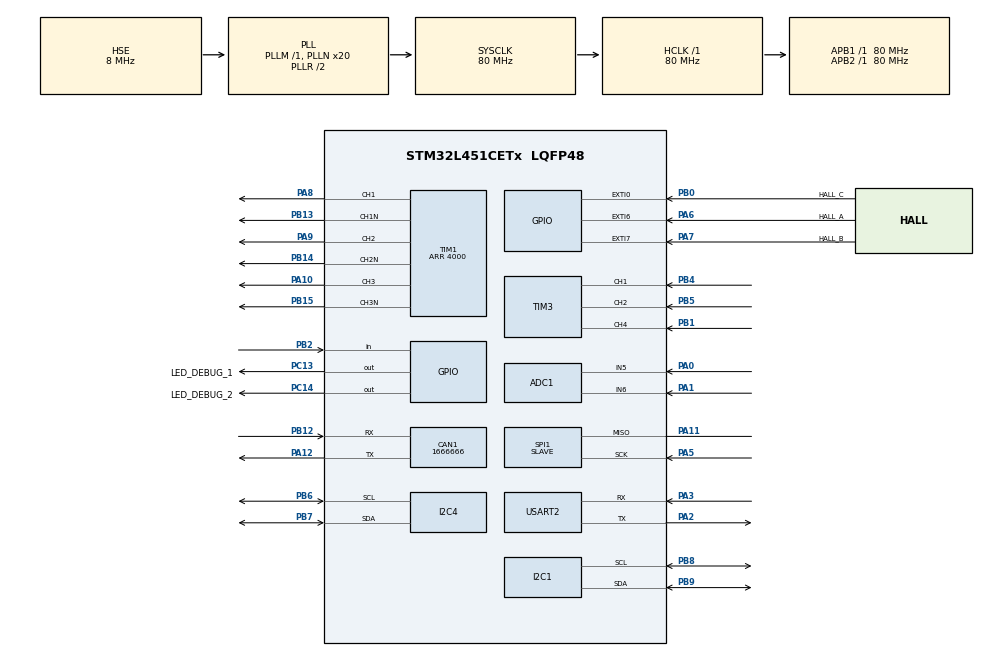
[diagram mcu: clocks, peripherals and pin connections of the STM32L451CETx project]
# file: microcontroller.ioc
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ADC1.Channel-0\#ChannelRegularConversion=ADC_CHANNEL_5
ADC1.NbrOfConversionFlag=1
ADC1.OffsetNumber-0\#ChannelRegularConversion=ADC_OFFSET_NONE
ADC1.Rank-0\#ChannelRegularConversion=1
ADC1.SamplingTime-0\#ChannelRegularConversion=ADC_SAMPLETIME_2CYCLES_5
ADC1.SingleDiff-0\#ChannelRegularConversion=ADC_DIFFERENTIAL_ENDED
ADC1.master=1
CAN1.CalculateBaudRate=1666666
CAN1.CalculateTimeBit=600
CAN1.CalculateTimeQuantum=200.0
CAN1.NART=ENABLE
CAN1.TXFP=ENABLE
FREERTOS.Queues01=EncoderQueue,10,float,0,Dynamic,NULL,NULL;CommandQueue,16,uint16_t,0,Dynamic,NULL,NULL
FREERTOS.Tasks01=defaultTask,24,128,StartDefaultTask,Default,NULL,Dynamic,NULL,NULL;EncoderTask,40,512,StartEncoderTask,Default,NULL,Dynamic,NULL,NULL;HallTask,40,256,StartHallTask,Default,NULL,Dynamic,NULL,NULL;ControlTask,48,1024,StartControlTask,Default,NULL,Dynamic,NULL,NULL;CanTask,24,512,StartCanTask,Default,NULL,Dynamic,NULL,NULL;TelemetryTask,8,512,StartTelemetryTask,Default,NULL,Dynamic,NULL,NULL;DiagnosticsTask,8,512,StartDiagnosticsTask,Default,NULL,Dynamic,NULL,NULL
FREERTOS.Timers01=LedTimer,LedTimerCallback,osTimerPeriodic,Default,NULL,Dynamic,NULL
FREERTOS.configTOTAL_HEAP_SIZE=16384
I2C1.Timing=0x10D19CE4
I2C4.Timing=0x10D19CE4
Mcu.Family=STM32L4
Mcu.Name=STM32L451CETx
Mcu.Package=LQFP48
NVIC.PriorityGroup=NVIC_PRIORITYGROUP_4
PA0.Signal=ADCx_IN5
PA1.Signal=ADCx_IN6
PA10.Signal=S_TIM1_CH3
PA11.Mode=Simplex_Bidirectional_Slave
PA11.Signal=SPI1_MISO
PA12.Mode=CAN_Activate
PA12.Signal=CAN1_TX
PA13\ (JTMS/SWDIO).Mode=Serial_Wire
PA13\ (JTMS/SWDIO).Signal=SYS_JTMS-SWDIO
PA14\ (JTCK/SWCLK).Mode=Serial_Wire
PA14\ (JTCK/SWCLK).Signal=SYS_JTCK-SWCLK
PA2.Mode=Asynchronous
PA2.Signal=USART2_TX
PA3.Mode=Asynchronous
PA3.Signal=USART2_RX
PA5.Mode=Simplex_Bidirectional_Slave
PA5.Signal=SPI1_SCK
PA6.GPIO_Label=HALL_A
PA6.Signal=GPXTI6
PA7.GPIO_Label=HALL_B
PA7.Signal=GPXTI7
PA8.Signal=S_TIM1_CH1
PA9.Signal=S_TIM1_CH2
PB0.GPIO_Label=HALL_C
PB0.Signal=GPXTI0
PB1.Signal=S_TIM3_CH4
PB12.Mode=CAN_Activate
PB12.Signal=CAN1_RX
PB13.Mode=PWM Generation1 CH1 CH1N
PB13.Signal=TIM1_CH1N
PB14.Mode=PWM Generation2 CH2 CH2N
PB14.Signal=TIM1_CH2N
PB15.Mode=PWM Generation3 CH3 CH3N
PB15.Signal=TIM1_CH3N
PB2.GPIO_PuPd=GPIO_PULLDOWN
PB2.Signal=GPIO_Input
PB4\ (NJTRST).Signal=S_TIM3_CH1
PB5.Signal=S_TIM3_CH2
PB6.Mode=I2C
PB6.Signal=I2C4_SCL
PB7.Mode=I2C
PB7.Signal=I2C4_SDA
PB8.Mode=I2C
PB8.Signal=I2C1_SCL
PB9.Mode=I2C
PB9.Signal=I2C1_SDA
PC13.GPIO_Label=LED_DEBUG_1
PC13.Signal=GPIO_Output
PC14-OSC32_IN\ (PC14).GPIO_Label=LED_DEBUG_2
PC14-OSC32_IN\ (PC14).Signal=GPIO_Output
PH0-OSC_IN\ (PH0).Mode=HSE-External-Oscillator
PH0-OSC_IN\ (PH0).Signal=RCC_OSC_IN
PH1-OSC_OUT\ (PH1).Mode=HSE-External-Oscillator
PH1-OSC_OUT\ (PH1).Signal=RCC_OSC_OUT
ProjectManager.HeapSize=0x200
ProjectManager.StackSize=0x400
ProjectManager.TargetToolchain=STM32CubeIDE
RCC.ADCFreq_Value=16000000
RCC.AHBFreq_Value=80000000
RCC.APB1Freq_Value=80000000
RCC.APB1TimFreq_Value=80000000
RCC.APB2Freq_Value=80000000
RCC.APB2TimFreq_Value=80000000
RCC.CortexFreq_Value=80000000
RCC.HCLKFreq_Value=80000000
RCC.HSE_VALUE=8000000
RCC.HSI48_VALUE=48000000
RCC.HSI_VALUE=16000000
RCC.LSE_VALUE=32768
RCC.MSI_VALUE=4000000
RCC.PLLN=40
RCC.SYSCLKFreq_VALUE=80000000
RCC.SYSCLKSource=RCC_SYSCLKSOURCE_PLLCLK
RCC.VCOOutputFreq_Value=160000000
SH.ADCx_IN5.0=ADC1_IN5,IN5-Differential
SH.ADCx_IN6.0=ADC1_IN6,IN5-Differential
SH.S_TIM1_CH1.0=TIM1_CH1,PWM Generation1 CH1 CH1N
SH.S_TIM1_CH2.0=TIM1_CH2,PWM Generation2 CH2 CH2N
SH.S_TIM1_CH3.0=TIM1_CH3,PWM Generation3 CH3 CH3N
SH.S_TIM3_CH1.0=TIM3_CH1,Input_Capture1_from_TI1
SH.S_TIM3_CH2.0=TIM3_CH2,Input_Capture2_from_TI2
SH.S_TIM3_CH4.0=TIM3_CH4,Input_Capture4_from_TI4
SPI1.DataSize=SPI_DATASIZE_16BIT
SPI1.Direction=SPI_DIRECTION_1LINE
SPI1.Mode=SPI_MODE_SLAVE
SPI1.VirtualType=VM_SLAVE
TIM1.BreakState=TIM_BREAK_DISABLE
TIM1.Channel-PWM\ Generation1\ CH1\ CH1N=TIM_CHANNEL_1
TIM1.Channel-PWM\ Generation2\ CH2\ CH2N=TIM_CHANNEL_2
TIM1.Channel-PWM\ Generation3\ CH3\ CH3N=TIM_CHANNEL_3
TIM1.DeadTime=100
TIM1.Period=4000
TIM3.Channel-Input_Capture1_from_TI1=TIM_CHANNEL_1
TIM3.Channel-Input_Capture2_from_TI2=TIM_CHANNEL_2
TIM3.Channel-Input_Capture4_from_TI4=TIM_CHANNEL_4
USART2.VirtualMode-Asynchronous=VM_ASYNC
VP_FREERTOS_VS_CMSIS_V2.Mode=CMSIS_V2
board=custom

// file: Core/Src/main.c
/* USER CODE BEGIN Header */
/**
  ******************************************************************************
  * @file           : main.c
  * @brief          : Main program body
  ******************************************************************************
  */
/* USER CODE END Header */

#include "main.h"
#include "cmsis_os.h"

/* USER CODE BEGIN Includes */
#include "app.h"           // Пользовательская инициализация
#include "bsp/encoder.h"   // Драйвер энкодера (будет создан)
#include "bsp/drv8353.h"   // Драйвер DRV8353
#include "bsp/power_monitor.h"
#include "communication/can_protocol.h"
#include "communication/telemetry.h"
/* USER CODE END Includes */

/* USER CODE BEGIN PTD */
typedef struct {
    float position;
    float velocity;
    uint8_t enable;
} Command_t;
/* USER CODE END PTD */

ADC_HandleTypeDef hadc1;
CAN_HandleTypeDef hcan1;
I2C_HandleTypeDef hi2c1;
I2C_HandleTypeDef hi2c4;
SPI_HandleTypeDef hspi1;
TIM_HandleTypeDef htim1;
TIM_HandleTypeDef htim3;
UART_HandleTypeDef huart2;

/* FreeRTOS objects */
osThreadId_t defaultTaskHandle;
const osThreadAttr_t defaultTask_attributes = {
    .name = "defaultTask",
    .stack_size = 128 * 4,
    .priority = (osPriority_t) osPriorityNormal,
};

osThreadId_t EncoderTaskHandle;
const osThreadAttr_t EncoderTask_attributes = {
    .name = "EncoderTask",
    .stack_size = 512 * 4,
    .priority = (osPriority_t) osPriorityHigh,
};

osThreadId_t HallTaskHandle;
const osThreadAttr_t HallTask_attributes = {
    .name = "HallTask",
    .stack_size = 256 * 4,
    .priority = (osPriority_t) osPriorityHigh,
};

osThreadId_t ControlTaskHandle;
const osThreadAttr_t ControlTask_attributes = {
    .name = "ControlTask",
    .stack_size = 1024 * 4,
    .priority = (osPriority_t) osPriorityRealtime,
};

osThreadId_t CanTaskHandle;
const osThreadAttr_t CanTask_attributes = {
    .name = "CanTask",
    .stack_size = 512 * 4,
    .priority = (osPriority_t) osPriorityNormal,
};

osThreadId_t TelemetryTaskHandle;
const osThreadAttr_t TelemetryTask_attributes = {
    .name = "TelemetryTask",
    .stack_size = 512 * 4,
    .priority = (osPriority_t) osPriorityLow,
};

osThreadId_t DiagnosticsTaskHandle;
const osThreadAttr_t DiagnosticsTask_attributes = {
    .name = "DiagnosticsTask",
    .stack_size = 512 * 4,
    .priority = (osPriority_t) osPriorityLow,
};

// Очередь команд: 10 элементов по 12 байт (sizeof(Command_t))
osMessageQueueId_t CommandQueueHandle;
const osMessageQueueAttr_t CommandQueue_attributes = {
    .name = "CommandQueue"
};

osTimerId_t LedTimerHandle;
const osTimerAttr_t LedTimer_attributes = {
    .name = "LedTimer"
};

void SystemClock_Config(void);
static void MX_GPIO_Init(void);
static void MX_ADC1_Init(void);
static void MX_CAN1_Init(void);
static void MX_I2C1_Init(void);
static void MX_I2C4_Init(void);
static void MX_TIM1_Init(void);
static void MX_USART2_UART_Init(void);
static void MX_SPI1_Init(void);
static void MX_TIM3_Init(void);
void StartDefaultTask(void *argument);
void StartEncoderTask(void *argument);
void StartHallTask(void *argument);
void StartControlTask(void *argument);
void StartCanTask(void *argument);
void StartTelemetryTask(void *argument);
void StartDiagnosticsTask(void *argument);
void LedTimerCallback(void *argument);

/* ===================== MAIN ===================== */
int main(void)
{

    HAL_Init();

    SystemClock_Config();   // <-- БУДЕТ ИСПРАВЛЕНА НИЖЕ

    MX_GPIO_Init();
    MX_ADC1_Init();      // <-- ИСПРАВЛЕНА
    MX_CAN1_Init();      // <-- ИСПРАВЛЕНА
    MX_I2C1_Init();
    MX_I2C4_Init();
    MX_TIM1_Init();      // <-- ИСПРАВЛЕНА (dead-time 250 нс)
    MX_USART2_UART_Init();
    MX_SPI1_Init();      // <-- ИСПРАВЛЕНА (Master, полный дуплекс)
    MX_TIM3_Init();      // <-- ИСПРАВЛЕНА (каналы 1,2,3)

    /* USER CODE BEGIN 2 */
    // Запуск ШИМ на всех 6 каналах TIM1
    HAL_TIM_PWM_Start(&htim1, TIM_CHANNEL_1);
    HAL_TIM_PWM_Start(&htim1, TIM_CHANNEL_2);
    HAL_TIM_PWM_Start(&htim1, TIM_CHANNEL_3);
    HAL_TIM_PWM_Start(&htim1, TIM_CHANNEL_1N);
    HAL_TIM_PWM_Start(&htim1, TIM_CHANNEL_2N);
    HAL_TIM_PWM_Start(&htim1, TIM_CHANNEL_3N);

    // Запуск таймера захвата для датчиков Холла (с прерываниями)
    HAL_TIM_IC_Start_IT(&htim3, TIM_CHANNEL_1);
    HAL_TIM_IC_Start_IT(&htim3, TIM_CHANNEL_2);
    HAL_TIM_IC_Start_IT(&htim3, TIM_CHANNEL_3);

    // Инициализация пользовательских модулей
    App_Init();
    /* USER CODE END 2 */

    osKernelInitialize();

    /* Создание таймера */
    LedTimerHandle = osTimerNew(LedTimerCallback, osTimerPeriodic, NULL, &LedTimer_attributes);
    osTimerStart(LedTimerHandle, pdMS_TO_TICKS(500));  // 500 мс

    /* Создание очереди (исправлено: размер элемента 12 байт) */
    CommandQueueHandle = osMessageQueueNew(10, sizeof(Command_t), &CommandQueue_attributes);

    /* Создание задач */
    defaultTaskHandle = osThreadNew(StartDefaultTask, NULL, &defaultTask_attributes);
    EncoderTaskHandle = osThreadNew(StartEncoderTask, NULL, &EncoderTask_attributes);
    HallTaskHandle = osThreadNew(StartHallTask, NULL, &HallTask_attributes);
    ControlTaskHandle = osThreadNew(StartControlTask, NULL, &ControlTask_attributes);
    CanTaskHandle = osThreadNew(StartCanTask, NULL, &CanTask_attributes);
    TelemetryTaskHandle = osThreadNew(StartTelemetryTask, NULL, &TelemetryTask_attributes);
    DiagnosticsTaskHandle = osThreadNew(StartDiagnosticsTask, NULL, &DiagnosticsTask_attributes);

    osKernelStart();

    while (1)
    {
        /* USER CODE END WHILE */
    }
}

/* ===================== Clock Configuration (ИСПРАВЛЕНА) ===================== */
void SystemClock_Config(void)
{
    RCC_OscInitTypeDef RCC_OscInitStruct = {0};
    RCC_ClkInitTypeDef RCC_ClkInitStruct = {0};

    // Настройка напряжения для 80 МГц
    if (HAL_PWREx_ControlVoltageScaling(PWR_REGULATOR_VOLTAGE_SCALE1) != HAL_OK)
        Error_Handler();

    // Используем HSE (внешний кварц 8 МГц)
    RCC_OscInitStruct.OscillatorType = RCC_OSCILLATORTYPE_HSE;
    RCC_OscInitStruct.HSEState = RCC_HSE_ON;
    RCC_OscInitStruct.PLL.PLLState = RCC_PLL_ON;
    RCC_OscInitStruct.PLL.PLLSource = RCC_PLLSOURCE_HSE;
    RCC_OscInitStruct.PLL.PLLM = 1;          // /1
    RCC_OscInitStruct.PLL.PLLN = 20;         // *20 => 160 МГц на VCO
    RCC_OscInitStruct.PLL.PLLP = RCC_PLLP_DIV7;   // не используется
    RCC_OscInitStruct.PLL.PLLQ = RCC_PLLQ_DIV2;   // не используется
    RCC_OscInitStruct.PLL.PLLR = RCC_PLLR_DIV2;   // /2 => 80 МГц SYSCLK

    if (HAL_RCC_OscConfig(&RCC_OscInitStruct) != HAL_OK)
        Error_Handler();

    RCC_ClkInitStruct.ClockType = RCC_CLOCKTYPE_HCLK | RCC_CLOCKTYPE_SYSCLK
                                  | RCC_CLOCKTYPE_PCLK1 | RCC_CLOCKTYPE_PCLK2;
    RCC_ClkInitStruct.SYSCLKSource = RCC_SYSCLKSOURCE_PLLCLK;
    RCC_ClkInitStruct.AHBCLKDivider = RCC_SYSCLK_DIV1;
    RCC_ClkInitStruct.APB1CLKDivider = RCC_HCLK_DIV1;
    RCC_ClkInitStruct.APB2CLKDivider = RCC_HCLK_DIV1;

    if (HAL_RCC_ClockConfig(&RCC_ClkInitStruct, FLASH_LATENCY_4) != HAL_OK)
        Error_Handler();
}

/* ===================== ADC1 (ИСПРАВЛЕНА: 2 канала, сканирование) ===================== */
static void MX_ADC1_Init(void)
{
    ADC_ChannelConfTypeDef sConfig = {0};

    hadc1.Instance = ADC1;
    hadc1.Init.ClockPrescaler = ADC_CLOCK_ASYNC_DIV1;
    hadc1.Init.Resolution = ADC_RESOLUTION_12B;
    hadc1.Init.DataAlign = ADC_DATAALIGN_RIGHT;
    hadc1.Init.ScanConvMode = ADC_SCAN_ENABLE;          // Включено сканирование
    hadc1.Init.EOCSelection = ADC_EOC_SEQ_CONV;         // Конец всей последовательности
    hadc1.Init.LowPowerAutoWait = DISABLE;
    hadc1.Init.ContinuousConvMode = DISABLE;
    hadc1.Init.NbrOfConversion = 2;                     // Два канала
    hadc1.Init.DiscontinuousConvMode = DISABLE;
    hadc1.Init.ExternalTrigConv = ADC_SOFTWARE_START;
    hadc1.Init.ExternalTrigConvEdge = ADC_EXTERNALTRIGCONVEDGE_NONE;
    hadc1.Init.DMAContinuousRequests = DISABLE;
    hadc1.Init.Overrun = ADC_OVR_DATA_PRESERVED;
    hadc1.Init.OversamplingMode = DISABLE;
    if (HAL_ADC_Init(&hadc1) != HAL_OK) Error_Handler();

    // Канал 5 (PB15) – ток фазы
    sConfig.Channel = ADC_CHANNEL_5;
    sConfig.Rank = 1;
    sConfig.SamplingTime = ADC_SAMPLETIME_47CYCLES_5;   // больше для фильтрации
    sConfig.SingleDiff = ADC_DIFFERENTIAL_ENDED;
    sConfig.OffsetNumber = ADC_OFFSET_NONE;
    sConfig.Offset = 0;
    if (HAL_ADC_ConfigChannel(&hadc1, &sConfig) != HAL_OK) Error_Handler();

    // Канал 6 (PA1) – напряжение шины
    sConfig.Channel = ADC_CHANNEL_6;
    sConfig.Rank = 2;
    if (HAL_ADC_ConfigChannel(&hadc1, &sConfig) != HAL_OK) Error_Handler();
}

/* ===================== CAN1 (ИСПРАВЛЕНА: 250 кбит/с, 80 МГц) ===================== */
static void MX_CAN1_Init(void)
{
    hcan1.Instance = CAN1;
    // Расчёт: частота таймера = 80 МГц / Prescaler.
    // Для 250 кбит/с: Prescaler = 20, BS1=13, BS2=2, тогда квантов = 1+13+2=16,
    // частота = 80e6 / (20 * 16) = 250 кГц.
    hcan1.Init.Prescaler = 20;
    hcan1.Init.Mode = CAN_MODE_NORMAL;
    hcan1.Init.SyncJumpWidth = CAN_SJW_1TQ;
    hcan1.Init.TimeSeg1 = CAN_BS1_13TQ;
    hcan1.Init.TimeSeg2 = CAN_BS2_2TQ;
    hcan1.Init.TimeTriggeredMode = DISABLE;
    hcan1.Init.AutoBusOff = DISABLE;
    hcan1.Init.AutoWakeUp = DISABLE;
    hcan1.Init.AutoRetransmission = ENABLE;
    hcan1.Init.ReceiveFifoLocked = DISABLE;
    hcan1.Init.TransmitFifoPriority = ENABLE;
    if (HAL_CAN_Init(&hcan1) != HAL_OK) Error_Handler();

    // Фильтр – пропускаем всё
    CAN_FilterTypeDef sFilterConfig = {0};
    sFilterConfig.FilterBank = 0;
    sFilterConfig.FilterMode = CAN_FILTERMODE_IDMASK;
    sFilterConfig.FilterScale = CAN_FILTERSCALE_32BIT;
    sFilterConfig.FilterIdHigh = 0;
    sFilterConfig.FilterIdLow = 0;
    sFilterConfig.FilterMaskIdHigh = 0;
    sFilterConfig.FilterMaskIdLow = 0;
    sFilterConfig.FilterFIFOAssignment = CAN_RX_FIFO0;
    sFilterConfig.FilterActivation = ENABLE;
    if (HAL_CAN_ConfigFilter(&hcan1, &sFilterConfig) != HAL_OK) Error_Handler();

    HAL_CAN_Start(&hcan1);
    HAL_CAN_ActivateNotification(&hcan1, CAN_IT_RX_FIFO0_MSG_PENDING);
}

/* ===================== SPI1 (ИСПРАВЛЕНА: Master, полный дуплекс, 16 бит) ===================== */
static void MX_SPI1_Init(void)
{
    hspi1.Instance = SPI1;
    hspi1.Init.Mode = SPI_MODE_MASTER;           // Master (было Slave)
    hspi1.Init.Direction = SPI_DIRECTION_2LINES; // Полный дуплекс
    hspi1.Init.DataSize = SPI_DATASIZE_16BIT;
    hspi1.Init.CLKPolarity = SPI_POLARITY_LOW;
    hspi1.Init.CLKPhase = SPI_PHASE_1EDGE;       // SPI Mode 0
    hspi1.Init.NSS = SPI_NSS_SOFT;               // Управление CS программно
    hspi1.Init.FirstBit = SPI_FIRSTBIT_MSB;
    hspi1.Init.TIMode = SPI_TIMODE_DISABLE;
    hspi1.Init.CRCCalculation = SPI_CRCCALCULATION_DISABLE;
    hspi1.Init.NSSPMode = SPI_NSS_PULSE_DISABLE;
    // Предделитель для частоты ~1-5 МГц (80 МГц / 16 = 5 МГц)
    if (HAL_SPI_Init(&hspi1) != HAL_OK) Error_Handler();
}

/* ===================== TIM1 (ИСПРАВЛЕНА: Dead Time = 250 нс) ===================== */
static void MX_TIM1_Init(void)
{
    TIM_MasterConfigTypeDef sMasterConfig = {0};
    TIM_OC_InitTypeDef sConfigOC = {0};
    TIM_BreakDeadTimeConfigTypeDef sBreakDeadTimeConfig = {0};

    htim1.Instance = TIM1;
    htim1.Init.Prescaler = 0;
    htim1.Init.CounterMode = TIM_COUNTERMODE_CENTERALIGNED1; // Центрированный
    htim1.Init.Period = 3999;    // 4000-1, 20 кГц при 80 МГц
    htim1.Init.ClockDivision = TIM_CLOCKDIVISION_DIV1;
    htim1.Init.RepetitionCounter = 0;
    htim1.Init.AutoReloadPreload = TIM_AUTORELOAD_PRELOAD_ENABLE;
    if (HAL_TIM_PWM_Init(&htim1) != HAL_OK) Error_Handler();

    sMasterConfig.MasterOutputTrigger = TIM_TRGO_RESET;
    sMasterConfig.MasterOutputTrigger2 = TIM_TRGO2_RESET;
    sMasterConfig.MasterSlaveMode = TIM_MASTERSLAVEMODE_DISABLE;
    if (HAL_TIMEx_MasterConfigSynchronization(&htim1, &sMasterConfig) != HAL_OK) Error_Handler();

    sConfigOC.OCMode = TIM_OCMODE_PWM1;
    sConfigOC.Pulse = 0;   // начальная скважность 0
    sConfigOC.OCPolarity = TIM_OCPOLARITY_HIGH;
    sConfigOC.OCNPolarity = TIM_OCNPOLARITY_HIGH;
    sConfigOC.OCFastMode = TIM_OCFAST_DISABLE;
    sConfigOC.OCIdleState = TIM_OCIDLESTATE_RESET;
    sConfigOC.OCNIdleState = TIM_OCNIDLESTATE_RESET;

    for (int ch = TIM_CHANNEL_1; ch <= TIM_CHANNEL_3; ch++)
        if (HAL_TIM_PWM_ConfigChannel(&htim1, &sConfigOC, ch) != HAL_OK) Error_Handler();

    // Настройка Dead Time (250 нс)
    sBreakDeadTimeConfig.OffStateRunMode = TIM_OSSR_ENABLE;
    sBreakDeadTimeConfig.OffStateIDLEMode = TIM_OSSI_ENABLE;
    sBreakDeadTimeConfig.LockLevel = TIM_LOCKLEVEL_OFF;
    // DeadTime рассчитывается: tDTS = 1/80e6 = 12.5 нс, DT = 20 * 12.5 = 250 нс
    sBreakDeadTimeConfig.DeadTime = 20;
    sBreakDeadTimeConfig.BreakState = TIM_BREAK_DISABLE;
    sBreakDeadTimeConfig.BreakPolarity = TIM_BREAKPOLARITY_HIGH;
    sBreakDeadTimeConfig.BreakFilter = 0;
    sBreakDeadTimeConfig.Break2State = TIM_BREAK2_DISABLE;
    sBreakDeadTimeConfig.AutomaticOutput = TIM_AUTOMATICOUTPUT_ENABLE;
    if (HAL_TIMEx_ConfigBreakDeadTime(&htim1, &sBreakDeadTimeConfig) != HAL_OK) Error_Handler();

    HAL_TIM_MspPostInit(&htim1);
}

/* ===================== TIM3 (ИСПРАВЛЕНА: каналы 1,2,3) ===================== */
static void MX_TIM3_Init(void)
{
    TIM_MasterConfigTypeDef sMasterConfig = {0};
    TIM_IC_InitTypeDef sConfigIC = {0};

    htim3.Instance = TIM3;
    htim3.Init.Prescaler = 0;
    htim3.Init.CounterMode = TIM_COUNTERMODE_UP;
    htim3.Init.Period = 65535;
    htim3.Init.ClockDivision = TIM_CLOCKDIVISION_DIV1;
    htim3.Init.AutoReloadPreload = TIM_AUTORELOAD_PRELOAD_DISABLE;
    if (HAL_TIM_IC_Init(&htim3) != HAL_OK) Error_Handler();

    sMasterConfig.MasterOutputTrigger = TIM_TRGO_RESET;
    sMasterConfig.MasterSlaveMode = TIM_MASTERSLAVEMODE_DISABLE;
    if (HAL_TIMEx_MasterConfigSynchronization(&htim3, &sMasterConfig) != HAL_OK) Error_Handler();

    sConfigIC.ICPolarity = TIM_INPUTCHANNELPOLARITY_RISING;
    sConfigIC.ICSelection = TIM_ICSELECTION_DIRECTTI;
    sConfigIC.ICPrescaler = TIM_ICPSC_DIV1;
    sConfigIC.ICFilter = 0;

    if (HAL_TIM_IC_ConfigChannel(&htim3, &sConfigIC, TIM_CHANNEL_1) != HAL_OK) Error_Handler();
    if (HAL_TIM_IC_ConfigChannel(&htim3, &sConfigIC, TIM_CHANNEL_2) != HAL_OK) Error_Handler();
    if (HAL_TIM_IC_ConfigChannel(&htim3, &sConfigIC, TIM_CHANNEL_3) != HAL_OK) Error_Handler();
}

/* ===================== Остальные функции (без изменений) ===================== */
static void MX_USART2_UART_Init(void) { /* ... как было ... */ }
static void MX_I2C1_Init(void) { /* ... */ }
static void MX_I2C4_Init(void) { /* ... */ }
static void MX_GPIO_Init(void) { /* ... как было, но добавьте CS энкодера если нужно */ }

/* ===================== Пример задачи ControlTask (заглушка) ===================== */
void StartControlTask(void *argument)
{
    /* USER CODE BEGIN StartControlTask */
    for(;;)
    {
        // Основной цикл управления
        osDelay(10);
    }
    /* USER CODE END StartControlTask */
}

/* Остальные задачи (StartEncoderTask, StartHallTask и т.д.) – аналогично, пока пустые */
void StartDefaultTask(void *argument) { for(;;) osDelay(1); }
void StartEncoderTask(void *argument) { for(;;) osDelay(10); }
void StartHallTask(void *argument) { for(;;) osDelay(1); }
void StartCanTask(void *argument) { for(;;) osDelay(5); }
void StartTelemetryTask(void *argument) { for(;;) osDelay(100); }
void StartDiagnosticsTask(void *argument) { for(;;) osDelay(500); }

void LedTimerCallback(void *argument)
{
    HAL_GPIO_TogglePin(LED_DEBUG_1_GPIO_Port, LED_DEBUG_1_Pin);
}

void Error_Handler(void)
{
    __disable_irq();
    while (1) { }
}
